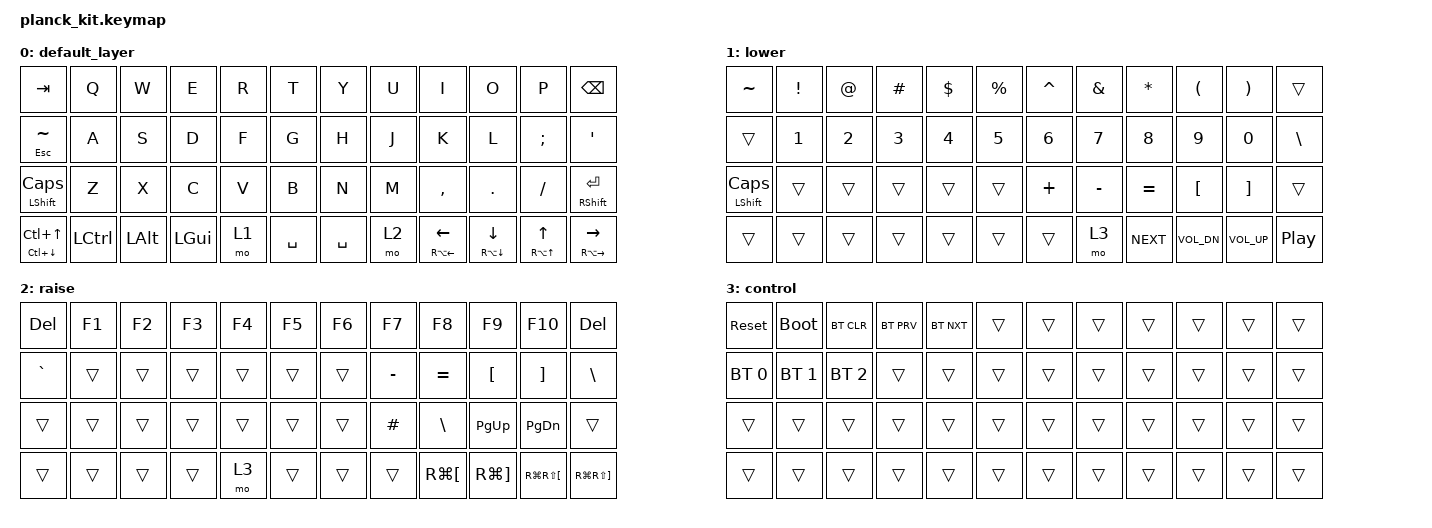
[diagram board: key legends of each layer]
#include <behaviors.dtsi>
#include <dt-bindings/zmk/keys.h>
#include <dt-bindings/zmk/bt.h>

&mt {
    tapping-term-ms = <170>;
};


/ {
    keymap {
        compatible = "zmk,keymap";

        default_layer {
            // ------------------------------------------------------------------------------------------------------------------
            // |   TAB   |   Q    |   W    |   E    |   R    |   T    |    Y    |   U     |   I    |   O    |    P    |  BSPC   |
            // |   ESC   |   A    |   S    |   D    |   F    |   G    |    H    |   J     |   K    |   L    |    ;    |   '     |
            // |  SHIFT  |   Z    |   X    |   C    |   V    |   B    |    N    |   M     |   ,    |   .    |    /    |   RET   |
            // |         |  LCTL  |  LALT  |  LGUI  |  LOWR  |      SPACE       |   RAIS  |  LARW  |  DARW  |  UARW   |   RARW  |
            // ------------------------------------------------------------------------------------------------------------------
            bindings = <
                &kp TAB    &kp Q    &kp W    &kp E    &kp R    &kp T     &kp Y     &kp U    &kp I    &kp O     &kp P     &kp BSPC
           &mt ESC TILDE   &kp A    &kp S    &kp D    &kp F    &kp G     &kp H     &kp J    &kp K    &kp L     &kp SEMI  &kp SQT
           &mt LSHFT CAPS  &kp Z    &kp X    &kp C    &kp V    &kp B     &kp N     &kp M   &kp COMMA &kp DOT   &kp SLASH &mt RSHFT RET
        &mt LC(DOWN) LC(UP) &kp LCTL &kp LALT &kp LGUI  &mo 1  &kp SPACE  &kp SPACE  &mo 2  &mt RA(LEFT) LEFT  &mt RA(DOWN) DOWN  &mt RA(UP) UP  &mt RA(RIGHT) RIGHT
            >;
        };

        lower {
            // ------------------------------------------------------------------------------------------------------------------
            // |    ~    |   !    |   @    |   #    |   $    |   %    |    ^    |    &    |   *    |   (    |    )    |  BSPC   |
            // |   ESC   |   1    |   2    |   3    |   4    |   5    |    6    |    7    |   8    |   9    |    0    |   |     |
            // |  SHIFT  |   ___  |  ___   |  ___   |  ___   |  ___   |    +    |    -    |   =    |   {    |    }    |   RET   |
            // |         |  ___   |  ___   |  ___   |  ___   |      SPACE       |   lyr3  |  next  |  vol dn|  vol up |play/pause|
            // ------------------------------------------------------------------------------------------------------------------
            bindings = <
                &kp TILDE  &kp EXCL &kp AT   &kp HASH &kp DOLLAR &kp PRCNT &kp CARET &kp AMPS  &kp ASTRK &kp LPAR  &kp RPAR  &trans
                &trans     &kp N1   &kp N2   &kp N3   &kp N4    &kp N5     &kp N6    &kp N7    &kp N8    &kp N9    &kp N0    &kp BSLH
            &mt LSHFT CAPS &trans   &trans   &trans   &trans    &trans     &kp PLUS  &kp MINUS &kp EQUAL &kp LBKT  &kp RBKT   &trans
                &trans     &trans   &trans   &trans   &trans    &trans     &trans    &mo 3    &kp C_NEXT &kp C_VOL_DN &kp C_VOL_UP &kp C_PP
            >;
        };

        raise {
            // ------------------------------------------------------------------------------------------------------------------
            // |    DEL  |   F1   |   F2   |   F3   |   F4   |   F5   |    F6   |    F7   |   F8   |   F9   |   F10   |   DEL   |
            // |    `    |  ___   |  ___   |  ___   |  ___   |  ___   |   ___   |    -    |   =    |   {    |    }    |   |     |
            // |  SHIFT  |   ___  |  ___   |  ___   |  ___   |  ___   |   ___   |    -    |   =    |   {    |    }    |   RET   |
            // |         |  ___   |  ___   |  ___   |  lyr3  |      SPACE       |   ___   |  back  |  fwd   |  tab L  |  tab R  |
            // ------------------------------------------------------------------------------------------------------------------
            bindings = <
                &kp DEL    &kp F1   &kp F2   &kp F3   &kp F4    &kp F5     &kp F6    &kp F7    &kp F8     &kp F9    &kp F10   &kp DEL
                &kp GRAVE  &trans   &trans    &trans  &trans    &trans     &trans   &kp MINUS  &kp EQUAL  &kp LBKT  &kp RBKT  &kp BSLH
                &trans     &trans   &trans    &trans  &trans    &trans     &trans   &kp HASH   &kp BSLH   &kp PG_UP &kp PG_DN &trans
                &trans     &trans   &trans    &trans  &mo 3     &trans     &trans   &trans   &kp RG(LBKT) &kp RG(RBKT) &kp RG(RS(LBKT)) &kp RG(RS(RBKT))
            >;
        };

        control {
            // ------------------------------------------------------------------------------------------------------------------
            // |sys_reset|bootloader| BT Clear | BT Prev | BT Next |  ___   |   ___   |   ___   |  ___   |  ___   |   ___   |   ___   |
            // |  BT  0  |   BT 1   |   BT 2   |   ___   |   ___   |  ___   |   ___   |   ___   |  ___   |  ___   |   ___   |   ___   |
            // |   ___   |    ___   |   ___    |   ___   |   ___   |  ___   |   ___   |   ___   |  ___   |  ___   |   ___   |   ___   |
            // |         |    ___   |   ___    |   ___   |   ___   |      SPACE       |   ___   |  ___   |  ___   |   ___   |   ___   |
            // ------------------------------------------------------------------------------------------------------------------
            bindings = <
                &sys_reset &bootloader &bt BT_CLR &bt BT_PRV &bt BT_NXT &trans &trans &trans &trans &trans &trans &trans
                &bt BT_SEL 0 &bt BT_SEL 1 &bt BT_SEL 2 &trans &trans &trans &trans &trans &trans &trans &trans &trans
                &trans &trans &trans &trans &trans &trans &trans &trans &trans &trans &trans &trans
                &trans &trans &trans &trans &trans &trans &trans &trans &trans &trans &trans &trans
            >;
        };
    };
};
